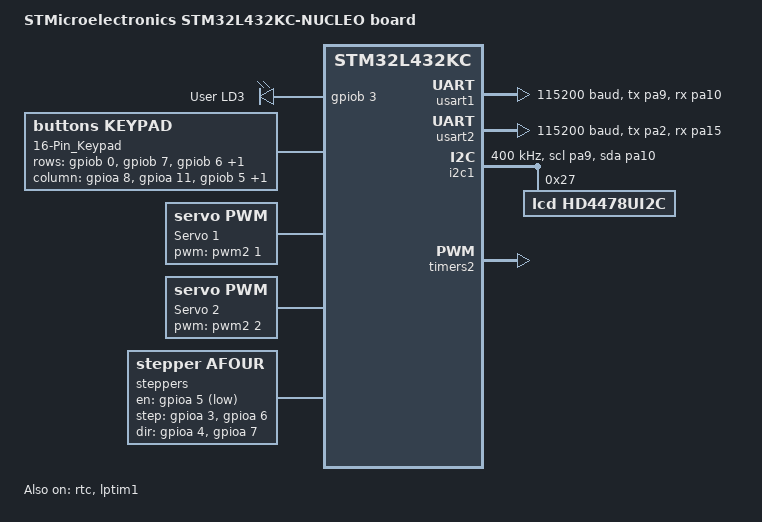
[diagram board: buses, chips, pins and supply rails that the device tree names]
/*
 * Copyright (c) 2017 Linaro Limited
 *
 * SPDX-License-Identifier: Apache-2.0
 */

/dts-v1/;
#include <st/l4/stm32l432Xc.dtsi>
#include <st/l4/stm32l432k(b-c)ux-pinctrl.dtsi>

/ {
	model = "STMicroelectronics STM32L432KC-NUCLEO board";
	compatible = "st,stm32l432kc-nucleo";

	chosen {
		zephyr,console = &usart2;
		zephyr,shell-uart = &usart2;
		zephyr,sram = &sram0;
		zephyr,flash = &flash0;
		zephyr,can-primary = &can1;
	};

	leds {
		compatible = "gpio-leds";
		green_led: led_0 {
			gpios = <&gpiob 3 GPIO_ACTIVE_HIGH>;
			label = "User LD3";
		};
	};

	keypad: keypad_16 {
		compatible = "buttons,keypad";
		label = "16-Pin_Keypad";
		rows-gpios = <&gpiob 0 GPIO_PULL_UP>,<&gpiob 7 GPIO_PULL_UP>,<&gpiob 6 GPIO_PULL_UP>,<&gpiob 1 GPIO_PULL_UP>;
		column-gpios   = <&gpioa 8 GPIO_PULL_UP>,<&gpioa 11 GPIO_PULL_UP>,<&gpiob 5 GPIO_PULL_UP>,<&gpiob 4 GPIO_PULL_UP>;
	};

	servo1: servo_1 {
		compatible = "servo,pwm";
		label = "Servo 1";
		pwms = <&pwm2 1 0 1>;
	};

	servo2: servo_2 {
		compatible = "servo,pwm";
		label = "Servo 2";
		pwms = <&pwm2 2 0 1>;
	};

	exstepper: stepper {
		compatible = "stepper,afour";
		status = "okay";
		label = "steppers";
		en-gpios = 	 <&gpioa 5 GPIO_ACTIVE_LOW>;
		step-gpios = <&gpioa 3 GPIO_ACTIVE_HIGH>,<&gpioa 6 GPIO_ACTIVE_HIGH>;
		dir-gpios =  <&gpioa 4 GPIO_ACTIVE_HIGH>,<&gpioa 7 GPIO_ACTIVE_HIGH>;
	};

	aliases {
		led0 = &green_led;
	};
};

&clk_hsi {
	status = "okay";
};

&pll {
	div-m = <1>;
	mul-n = <20>;
	div-p = <7>;
	div-q = <2>;
	div-r = <4>;
	clocks = <&clk_hsi>;
	status = "okay";
};

&rcc {
	clocks = <&pll>;
	clock-frequency = <DT_FREQ_M(80)>;
	ahb-prescaler = <1>;
	apb1-prescaler = <1>;
	apb2-prescaler = <1>;
};

&usart1 {
	pinctrl-0 = <&usart1_tx_pa9 &usart1_rx_pa10>;
	current-speed = <115200>;
};

&usart2 {
	pinctrl-0 = <&usart2_tx_pa2 &usart2_rx_pa15>;
	current-speed = <115200>;
	status = "okay";
};

&spi1 {
	// pinctrl-0 = <&spi1_nss_pa4 &spi1_sck_pa5
	// 	     &spi1_miso_pa6 &spi1_mosi_pa7>;
	//status = "okay";
};

&i2c1 {
		pinctrl-0 = <&i2c1_scl_pa9 &i2c1_sda_pa10>;
		clock-frequency = <I2C_BITRATE_FAST>;
		status = "okay";
		lcdthing: lcd@27{
			status = "okay";
			compatible = "lcd,hd4478ui2c";
			label = "lcd";
			reg = <0x27>;
			/* reg is the I2C device address.
			* It must match the node's unit address. */
			//reg = <0x27>;

			/* Configure other I2C device properties as needed.
			* Find your device's DT binding for details. */
		};
};

&timers2 {
	status = "okay";

	pwm2: pwm {
		status = "okay";
		pinctrl-0 = <&tim2_ch1_pa0 &tim2_ch2_pa1>;
	};
};

&can1 {
	// pinctrl-0 = <&can1_rx_pa11 &can1_tx_pa12>;
	// bus-speed = <125000>;
	//status = "okay";
};

&rtc {
	status = "okay";
};

&lptim1 {
	status = "okay";
};

&flash0 {
	partitions {
		compatible = "fixed-partitions";
		#address-cells = <1>;
		#size-cells = <1>;

		/*
		 * Reserve the final 16 KiB for file system partition
		 */
		storage_partition: partition@3c000 {
			label = "storage";
			reg = <0x0003c000 0x00004000>;
		};
	};
};
